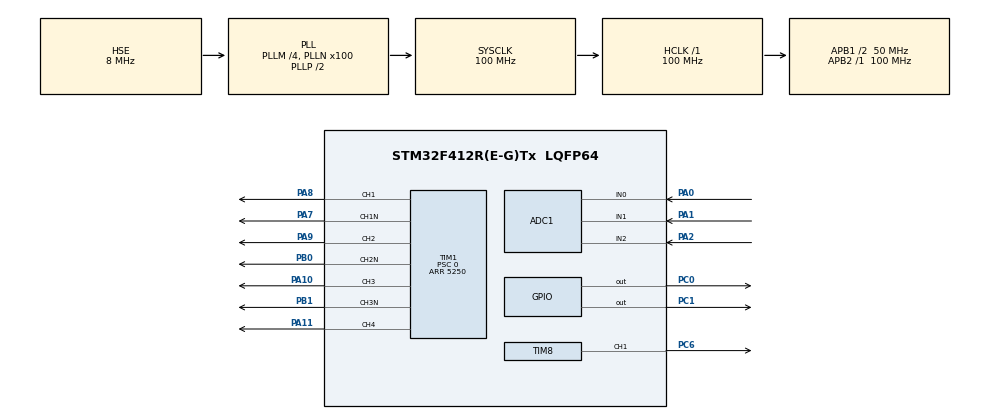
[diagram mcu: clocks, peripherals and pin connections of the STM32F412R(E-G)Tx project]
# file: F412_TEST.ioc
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ADC1.Channel-0\#ChannelRegularConversion=ADC_CHANNEL_0
ADC1.Channel-1\#ChannelInjectedConversion=ADC_CHANNEL_0
ADC1.Channel-2\#ChannelInjectedConversion=ADC_CHANNEL_1
ADC1.Channel-3\#ChannelInjectedConversion=ADC_CHANNEL_2
ADC1.ExternalTrigInjecConv=ADC_EXTERNALTRIGINJECCONV_T1_CC4
ADC1.ExternalTrigInjecConvEdge=ADC_EXTERNALTRIGINJECCONVEDGE_FALLING
ADC1.InjNumberOfConversion=3
ADC1.InjectedOffset-1\#ChannelInjectedConversion=0
ADC1.InjectedOffset-2\#ChannelInjectedConversion=0
ADC1.InjectedOffset-3\#ChannelInjectedConversion=0
ADC1.InjectedRank-1\#ChannelInjectedConversion=1
ADC1.InjectedRank-2\#ChannelInjectedConversion=2
ADC1.InjectedRank-3\#ChannelInjectedConversion=3
ADC1.NbrOfConversion=1
ADC1.NbrOfConversionFlag=1
ADC1.Rank-0\#ChannelRegularConversion=1
ADC1.SamplingTime-0\#ChannelRegularConversion=ADC_SAMPLETIME_3CYCLES
ADC1.SamplingTime-1\#ChannelInjectedConversion=ADC_SAMPLETIME_3CYCLES
ADC1.SamplingTime-2\#ChannelInjectedConversion=ADC_SAMPLETIME_3CYCLES
ADC1.SamplingTime-3\#ChannelInjectedConversion=ADC_SAMPLETIME_3CYCLES
ADC1.master=1
Mcu.Family=STM32F4
Mcu.Name=STM32F412R(E-G)Tx
Mcu.Package=LQFP64
NVIC.ADC_IRQn=true\:0\:0\:false\:false\:true\:true\:true\:true
NVIC.PriorityGroup=NVIC_PRIORITYGROUP_4
NVIC.TIM1_UP_TIM10_IRQn=true\:1\:0\:true\:false\:true\:true\:true\:true
NVIC.TIM6_IRQn=true\:15\:0\:false\:false\:true\:false\:true\:true
NVIC.TimeBase=TIM6_IRQn
NVIC.TimeBaseIP=TIM6
PA0.Signal=ADCx_IN0
PA1.Signal=ADCx_IN1
PA10.Signal=S_TIM1_CH3
PA11.Signal=S_TIM1_CH4
PA13.Mode=Serial_Wire
PA13.Signal=SYS_JTMS-SWDIO
PA14.Mode=Serial_Wire
PA14.Signal=SYS_JTCK-SWCLK
PA2.Signal=ADCx_IN2
PA7.Mode=PWM Generation1 CH1 CH1N
PA7.Signal=TIM1_CH1N
PA8.Signal=S_TIM1_CH1
PA9.Signal=S_TIM1_CH2
PB0.Mode=PWM Generation2 CH2 CH2N
PB0.Signal=TIM1_CH2N
PB1.Mode=PWM Generation3 CH3 CH3N
PB1.Signal=TIM1_CH3N
PC0.GPIO_PuPd=GPIO_PULLUP
PC0.GPIO_Speed=GPIO_SPEED_FREQ_HIGH
PC0.Signal=GPIO_Output
PC1.GPIO_PuPd=GPIO_PULLUP
PC1.GPIO_Speed=GPIO_SPEED_FREQ_HIGH
PC1.Signal=GPIO_Output
PC6.Signal=S_TIM8_CH1
PH0\ -\ OSC_IN.Mode=HSE-External-Oscillator
PH0\ -\ OSC_IN.Signal=RCC_OSC_IN
PH1\ -\ OSC_OUT.Mode=HSE-External-Oscillator
PH1\ -\ OSC_OUT.Signal=RCC_OSC_OUT
ProjectManager.HeapSize=0x200
ProjectManager.StackSize=0x400
ProjectManager.TargetToolchain=MDK-ARM V5.32
RCC.AHBFreq_Value=100000000
RCC.APB1CLKDivider=RCC_HCLK_DIV2
RCC.APB1Freq_Value=50000000
RCC.APB1TimFreq_Value=100000000
RCC.APB2Freq_Value=100000000
RCC.APB2TimFreq_Value=100000000
RCC.CortexFreq_Value=100000000
RCC.HCLKFreq_Value=100000000
RCC.HSE_VALUE=8000000
RCC.PLLM=4
RCC.PLLN=100
RCC.PLLSourceVirtual=RCC_PLLSOURCE_HSE
RCC.SYSCLKFreq_VALUE=100000000
RCC.SYSCLKSource=RCC_SYSCLKSOURCE_PLLCLK
RCC.USBFreq_Value=100000000
RCC.VCOOutputFreq_Value=200000000
SH.ADCx_IN0.0=ADC1_IN0,IN0
SH.ADCx_IN1.0=ADC1_IN1,IN1
SH.ADCx_IN2.0=ADC1_IN2,IN2
SH.S_TIM1_CH1.0=TIM1_CH1,PWM Generation1 CH1 CH1N
SH.S_TIM1_CH2.0=TIM1_CH2,PWM Generation2 CH2 CH2N
SH.S_TIM1_CH3.0=TIM1_CH3,PWM Generation3 CH3 CH3N
SH.S_TIM1_CH4.0=TIM1_CH4,PWM Generation4 CH4
SH.S_TIM8_CH1.0=TIM8_CH1,PWM Generation1 CH1
TIM1.Channel-PWM\ Generation1\ CH1\ CH1N=TIM_CHANNEL_1
TIM1.Channel-PWM\ Generation2\ CH2\ CH2N=TIM_CHANNEL_2
TIM1.Channel-PWM\ Generation3\ CH3\ CH3N=TIM_CHANNEL_3
TIM1.Channel-PWM\ Generation4\ CH4=TIM_CHANNEL_4
TIM1.CounterMode=TIM_COUNTERMODE_CENTERALIGNED1
TIM1.DeadTime=35
TIM1.OCMode_PWM-PWM\ Generation1\ CH1\ CH1N=TIM_OCMODE_PWM1
TIM1.OCMode_PWM-PWM\ Generation2\ CH2\ CH2N=TIM_OCMODE_PWM1
TIM1.OCMode_PWM-PWM\ Generation3\ CH3\ CH3N=TIM_OCMODE_PWM1
TIM1.OCMode_PWM-PWM\ Generation4\ CH4=TIM_OCMODE_PWM2
TIM1.OCNPolarity_1=TIM_OCNPOLARITY_HIGH
TIM1.Period=5250
TIM1.Prescaler=0
TIM1.Pulse-PWM\ Generation1\ CH1\ CH1N=1312
TIM1.Pulse-PWM\ Generation4\ CH4=100
TIM1.TIM_MasterOutputTrigger=TIM_TRGO_OC4REF
TIM1.TIM_MasterSlaveMode=TIM_MASTERSLAVEMODE_DISABLE
TIM8.Channel-PWM\ Generation1\ CH1=TIM_CHANNEL_1
TIM8.Period=99
TIM8.Prescaler=99
TIM8.Pulse-PWM\ Generation1\ CH1=50
VP_SYS_VS_tim6.Mode=TIM6
VP_TIM1_VS_ClockSourceINT.Mode=Internal
VP_TIM8_VS_ClockSourceINT.Mode=Internal
board=custom

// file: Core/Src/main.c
/* USER CODE BEGIN Header */
/**
  ******************************************************************************
  * @file           : main.c
  * @brief          : Main program body
  ******************************************************************************
  * @attention
  *
  * Copyright (c) 2025 STMicroelectronics.
  * All rights reserved.
  *
  * This software is licensed under terms that can be found in the LICENSE file
  * in the root directory of this software component.
  * If no LICENSE file comes with this software, it is provided AS-IS.
  *
  ******************************************************************************
  */
/* USER CODE END Header */
#include "main.h"

ADC_HandleTypeDef hadc1;

TIM_HandleTypeDef htim1;
TIM_HandleTypeDef htim8;

void SystemClock_Config(void);
static void MX_GPIO_Init(void);
static void MX_TIM1_Init(void);
static void MX_TIM8_Init(void);
static void MX_ADC1_Init(void);

/* USER CODE BEGIN 0 */
__IO uint16_t adcData[3] = {0};
/* USER CODE END 0 */

int main(void)
{

  /* MCU Configuration--------------------------------------------------------*/

  /* Reset of all peripherals, Initializes the Flash interface and the Systick. */
  HAL_Init();

  /* Configure the system clock */
  SystemClock_Config();

  /* Initialize all configured peripherals */
  MX_GPIO_Init();
  MX_TIM1_Init();
  MX_TIM8_Init();
  MX_ADC1_Init();
  /* USER CODE BEGIN 2 */
	HAL_ADCEx_InjectedStart_IT(&hadc1);

	HAL_TIM_PWM_Start(&htim1, TIM_CHANNEL_1);
	HAL_TIM_PWM_Start(&htim1, TIM_CHANNEL_2);
	HAL_TIM_PWM_Start(&htim1, TIM_CHANNEL_3);
	HAL_TIM_PWM_Start(&htim1, TIM_CHANNEL_4);

	HAL_TIMEx_PWMN_Start(&htim1, TIM_CHANNEL_1);
	HAL_TIMEx_PWMN_Start(&htim1, TIM_CHANNEL_2);
	HAL_TIMEx_PWMN_Start(&htim1, TIM_CHANNEL_3);

	__HAL_TIM_ENABLE_IT(&htim1, TIM_IT_UPDATE);

  /* USER CODE END 2 */

  /* Infinite loop */
  while (1)
  {

  }
}

void SystemClock_Config(void)
{
  RCC_OscInitTypeDef RCC_OscInitStruct = {0};
  RCC_ClkInitTypeDef RCC_ClkInitStruct = {0};

  /** Configure the main internal regulator output voltage
  */
  __HAL_RCC_PWR_CLK_ENABLE();
  __HAL_PWR_VOLTAGESCALING_CONFIG(PWR_REGULATOR_VOLTAGE_SCALE1);

  /** Initializes the RCC Oscillators according to the specified parameters
  * in the RCC_OscInitTypeDef structure.
  */
  RCC_OscInitStruct.OscillatorType = RCC_OSCILLATORTYPE_HSE;
  RCC_OscInitStruct.HSEState = RCC_HSE_ON;
  RCC_OscInitStruct.PLL.PLLState = RCC_PLL_ON;
  RCC_OscInitStruct.PLL.PLLSource = RCC_PLLSOURCE_HSE;
  RCC_OscInitStruct.PLL.PLLM = 4;
  RCC_OscInitStruct.PLL.PLLN = 100;
  RCC_OscInitStruct.PLL.PLLP = RCC_PLLP_DIV2;
  RCC_OscInitStruct.PLL.PLLQ = 2;
  RCC_OscInitStruct.PLL.PLLR = 2;
  if (HAL_RCC_OscConfig(&RCC_OscInitStruct) != HAL_OK)
  {
    Error_Handler();
  }

  /** Initializes the CPU, AHB and APB buses clocks
  */
  RCC_ClkInitStruct.ClockType = RCC_CLOCKTYPE_HCLK|RCC_CLOCKTYPE_SYSCLK
                              |RCC_CLOCKTYPE_PCLK1|RCC_CLOCKTYPE_PCLK2;
  RCC_ClkInitStruct.SYSCLKSource = RCC_SYSCLKSOURCE_PLLCLK;
  RCC_ClkInitStruct.AHBCLKDivider = RCC_SYSCLK_DIV1;
  RCC_ClkInitStruct.APB1CLKDivider = RCC_HCLK_DIV2;
  RCC_ClkInitStruct.APB2CLKDivider = RCC_HCLK_DIV1;

  if (HAL_RCC_ClockConfig(&RCC_ClkInitStruct, FLASH_LATENCY_3) != HAL_OK)
  {
    Error_Handler();
  }
}

static void MX_ADC1_Init(void)
{

  ADC_ChannelConfTypeDef sConfig = {0};
  ADC_InjectionConfTypeDef sConfigInjected = {0};

  /** Configure the global features of the ADC (Clock, Resolution, Data Alignment and number of conversion)
  */
  hadc1.Instance = ADC1;
  hadc1.Init.ClockPrescaler = ADC_CLOCK_SYNC_PCLK_DIV4;
  hadc1.Init.Resolution = ADC_RESOLUTION_12B;
  hadc1.Init.ScanConvMode = ENABLE;
  hadc1.Init.ContinuousConvMode = DISABLE;
  hadc1.Init.DiscontinuousConvMode = DISABLE;
  hadc1.Init.ExternalTrigConvEdge = ADC_EXTERNALTRIGCONVEDGE_NONE;
  hadc1.Init.ExternalTrigConv = ADC_SOFTWARE_START;
  hadc1.Init.DataAlign = ADC_DATAALIGN_RIGHT;
  hadc1.Init.NbrOfConversion = 1;
  hadc1.Init.DMAContinuousRequests = DISABLE;
  hadc1.Init.EOCSelection = ADC_EOC_SINGLE_CONV;
  if (HAL_ADC_Init(&hadc1) != HAL_OK)
  {
    Error_Handler();
  }

  /** Configure for the selected ADC regular channel its corresponding rank in the sequencer and its sample time.
  */
  sConfig.Channel = ADC_CHANNEL_0;
  sConfig.Rank = 1;
  sConfig.SamplingTime = ADC_SAMPLETIME_3CYCLES;
  if (HAL_ADC_ConfigChannel(&hadc1, &sConfig) != HAL_OK)
  {
    Error_Handler();
  }

  /** Configures for the selected ADC injected channel its corresponding rank in the sequencer and its sample time
  */
  sConfigInjected.InjectedChannel = ADC_CHANNEL_0;
  sConfigInjected.InjectedRank = 1;
  sConfigInjected.InjectedNbrOfConversion = 3;
  sConfigInjected.InjectedSamplingTime = ADC_SAMPLETIME_3CYCLES;
  sConfigInjected.ExternalTrigInjecConvEdge = ADC_EXTERNALTRIGINJECCONVEDGE_FALLING;
  sConfigInjected.ExternalTrigInjecConv = ADC_EXTERNALTRIGINJECCONV_T1_CC4;
  sConfigInjected.AutoInjectedConv = DISABLE;
  sConfigInjected.InjectedDiscontinuousConvMode = DISABLE;
  sConfigInjected.InjectedOffset = 0;
  if (HAL_ADCEx_InjectedConfigChannel(&hadc1, &sConfigInjected) != HAL_OK)
  {
    Error_Handler();
  }

  /** Configures for the selected ADC injected channel its corresponding rank in the sequencer and its sample time
  */
  sConfigInjected.InjectedChannel = ADC_CHANNEL_1;
  sConfigInjected.InjectedRank = 2;
  if (HAL_ADCEx_InjectedConfigChannel(&hadc1, &sConfigInjected) != HAL_OK)
  {
    Error_Handler();
  }

  /** Configures for the selected ADC injected channel its corresponding rank in the sequencer and its sample time
  */
  sConfigInjected.InjectedChannel = ADC_CHANNEL_2;
  sConfigInjected.InjectedRank = 3;
  if (HAL_ADCEx_InjectedConfigChannel(&hadc1, &sConfigInjected) != HAL_OK)
  {
    Error_Handler();
  }

}

static void MX_TIM1_Init(void)
{

  TIM_ClockConfigTypeDef sClockSourceConfig = {0};
  TIM_MasterConfigTypeDef sMasterConfig = {0};
  TIM_OC_InitTypeDef sConfigOC = {0};
  TIM_BreakDeadTimeConfigTypeDef sBreakDeadTimeConfig = {0};

  htim1.Instance = TIM1;
  htim1.Init.Prescaler = 0;
  htim1.Init.CounterMode = TIM_COUNTERMODE_CENTERALIGNED1;
  htim1.Init.Period = 5250;
  htim1.Init.ClockDivision = TIM_CLOCKDIVISION_DIV1;
  htim1.Init.RepetitionCounter = 0;
  htim1.Init.AutoReloadPreload = TIM_AUTORELOAD_PRELOAD_DISABLE;
  if (HAL_TIM_Base_Init(&htim1) != HAL_OK)
  {
    Error_Handler();
  }
  sClockSourceConfig.ClockSource = TIM_CLOCKSOURCE_INTERNAL;
  if (HAL_TIM_ConfigClockSource(&htim1, &sClockSourceConfig) != HAL_OK)
  {
    Error_Handler();
  }
  if (HAL_TIM_PWM_Init(&htim1) != HAL_OK)
  {
    Error_Handler();
  }
  sMasterConfig.MasterOutputTrigger = TIM_TRGO_OC4REF;
  sMasterConfig.MasterSlaveMode = TIM_MASTERSLAVEMODE_DISABLE;
  if (HAL_TIMEx_MasterConfigSynchronization(&htim1, &sMasterConfig) != HAL_OK)
  {
    Error_Handler();
  }
  sConfigOC.OCMode = TIM_OCMODE_PWM1;
  sConfigOC.Pulse = 1312;
  sConfigOC.OCPolarity = TIM_OCPOLARITY_HIGH;
  sConfigOC.OCNPolarity = TIM_OCNPOLARITY_HIGH;
  sConfigOC.OCFastMode = TIM_OCFAST_DISABLE;
  sConfigOC.OCIdleState = TIM_OCIDLESTATE_RESET;
  sConfigOC.OCNIdleState = TIM_OCNIDLESTATE_RESET;
  if (HAL_TIM_PWM_ConfigChannel(&htim1, &sConfigOC, TIM_CHANNEL_1) != HAL_OK)
  {
    Error_Handler();
  }
  sConfigOC.Pulse = 0;
  if (HAL_TIM_PWM_ConfigChannel(&htim1, &sConfigOC, TIM_CHANNEL_2) != HAL_OK)
  {
    Error_Handler();
  }
  if (HAL_TIM_PWM_ConfigChannel(&htim1, &sConfigOC, TIM_CHANNEL_3) != HAL_OK)
  {
    Error_Handler();
  }
  sConfigOC.OCMode = TIM_OCMODE_PWM2;
  sConfigOC.Pulse = 100;
  if (HAL_TIM_PWM_ConfigChannel(&htim1, &sConfigOC, TIM_CHANNEL_4) != HAL_OK)
  {
    Error_Handler();
  }
  sBreakDeadTimeConfig.OffStateRunMode = TIM_OSSR_DISABLE;
  sBreakDeadTimeConfig.OffStateIDLEMode = TIM_OSSI_DISABLE;
  sBreakDeadTimeConfig.LockLevel = TIM_LOCKLEVEL_OFF;
  sBreakDeadTimeConfig.DeadTime = 35;
  sBreakDeadTimeConfig.BreakState = TIM_BREAK_DISABLE;
  sBreakDeadTimeConfig.BreakPolarity = TIM_BREAKPOLARITY_HIGH;
  sBreakDeadTimeConfig.AutomaticOutput = TIM_AUTOMATICOUTPUT_DISABLE;
  if (HAL_TIMEx_ConfigBreakDeadTime(&htim1, &sBreakDeadTimeConfig) != HAL_OK)
  {
    Error_Handler();
  }
  HAL_TIM_MspPostInit(&htim1);

}

static void MX_TIM8_Init(void)
{

  TIM_ClockConfigTypeDef sClockSourceConfig = {0};
  TIM_MasterConfigTypeDef sMasterConfig = {0};
  TIM_OC_InitTypeDef sConfigOC = {0};
  TIM_BreakDeadTimeConfigTypeDef sBreakDeadTimeConfig = {0};

  htim8.Instance = TIM8;
  htim8.Init.Prescaler = 99;
  htim8.Init.CounterMode = TIM_COUNTERMODE_UP;
  htim8.Init.Period = 99;
  htim8.Init.ClockDivision = TIM_CLOCKDIVISION_DIV1;
  htim8.Init.RepetitionCounter = 0;
  htim8.Init.AutoReloadPreload = TIM_AUTORELOAD_PRELOAD_DISABLE;
  if (HAL_TIM_Base_Init(&htim8) != HAL_OK)
  {
    Error_Handler();
  }
  sClockSourceConfig.ClockSource = TIM_CLOCKSOURCE_INTERNAL;
  if (HAL_TIM_ConfigClockSource(&htim8, &sClockSourceConfig) != HAL_OK)
  {
    Error_Handler();
  }
  if (HAL_TIM_PWM_Init(&htim8) != HAL_OK)
  {
    Error_Handler();
  }
  sMasterConfig.MasterOutputTrigger = TIM_TRGO_RESET;
  sMasterConfig.MasterSlaveMode = TIM_MASTERSLAVEMODE_DISABLE;
  if (HAL_TIMEx_MasterConfigSynchronization(&htim8, &sMasterConfig) != HAL_OK)
  {
    Error_Handler();
  }
  sConfigOC.OCMode = TIM_OCMODE_PWM1;
  sConfigOC.Pulse = 50;
  sConfigOC.OCPolarity = TIM_OCPOLARITY_HIGH;
  sConfigOC.OCNPolarity = TIM_OCNPOLARITY_HIGH;
  sConfigOC.OCFastMode = TIM_OCFAST_DISABLE;
  sConfigOC.OCIdleState = TIM_OCIDLESTATE_RESET;
  sConfigOC.OCNIdleState = TIM_OCNIDLESTATE_RESET;
  if (HAL_TIM_PWM_ConfigChannel(&htim8, &sConfigOC, TIM_CHANNEL_1) != HAL_OK)
  {
    Error_Handler();
  }
  sBreakDeadTimeConfig.OffStateRunMode = TIM_OSSR_DISABLE;
  sBreakDeadTimeConfig.OffStateIDLEMode = TIM_OSSI_DISABLE;
  sBreakDeadTimeConfig.LockLevel = TIM_LOCKLEVEL_OFF;
  sBreakDeadTimeConfig.DeadTime = 0;
  sBreakDeadTimeConfig.BreakState = TIM_BREAK_DISABLE;
  sBreakDeadTimeConfig.BreakPolarity = TIM_BREAKPOLARITY_HIGH;
  sBreakDeadTimeConfig.AutomaticOutput = TIM_AUTOMATICOUTPUT_DISABLE;
  if (HAL_TIMEx_ConfigBreakDeadTime(&htim8, &sBreakDeadTimeConfig) != HAL_OK)
  {
    Error_Handler();
  }
  HAL_TIM_MspPostInit(&htim8);

}

static void MX_GPIO_Init(void)
{
  GPIO_InitTypeDef GPIO_InitStruct = {0};

  /* GPIO Ports Clock Enable */
  __HAL_RCC_GPIOH_CLK_ENABLE();
  __HAL_RCC_GPIOC_CLK_ENABLE();
  __HAL_RCC_GPIOA_CLK_ENABLE();
  __HAL_RCC_GPIOB_CLK_ENABLE();

  /*Configure GPIO pin Output Level */
  HAL_GPIO_WritePin(GPIOC, GPIO_PIN_0|GPIO_PIN_1, GPIO_PIN_RESET);

  /*Configure GPIO pins : PC0 PC1 */
  GPIO_InitStruct.Pin = GPIO_PIN_0|GPIO_PIN_1;
  GPIO_InitStruct.Mode = GPIO_MODE_OUTPUT_PP;
  GPIO_InitStruct.Pull = GPIO_PULLUP;
  GPIO_InitStruct.Speed = GPIO_SPEED_FREQ_HIGH;
  HAL_GPIO_Init(GPIOC, &GPIO_InitStruct);

}

/* USER CODE BEGIN 4 */
void HAL_ADCEx_InjectedConvCpltCallback(ADC_HandleTypeDef *hadc)
{
	if(hadc->Instance == ADC1)
	{
		HAL_GPIO_TogglePin(GPIOC, GPIO_PIN_1);
		adcData[0] = hadc->Instance->JDR1;
		adcData[1] = hadc->Instance->JDR2;
		adcData[2] = hadc->Instance->JDR3;
		HAL_GPIO_TogglePin(GPIOC, GPIO_PIN_1);
	}
}
/* USER CODE END 4 */

void HAL_TIM_PeriodElapsedCallback(TIM_HandleTypeDef *htim)
{
  if (htim->Instance == TIM6)
  {
    HAL_IncTick();
  }
  /* USER CODE BEGIN Callback 1 */
	if(htim->Instance == TIM1)
	{
		HAL_GPIO_TogglePin(GPIOC, GPIO_PIN_0);
		HAL_GPIO_TogglePin(GPIOC, GPIO_PIN_0);
	}
  /* USER CODE END Callback 1 */
}

void Error_Handler(void)
{
  __disable_irq();
  while (1)
  {
  }
}
